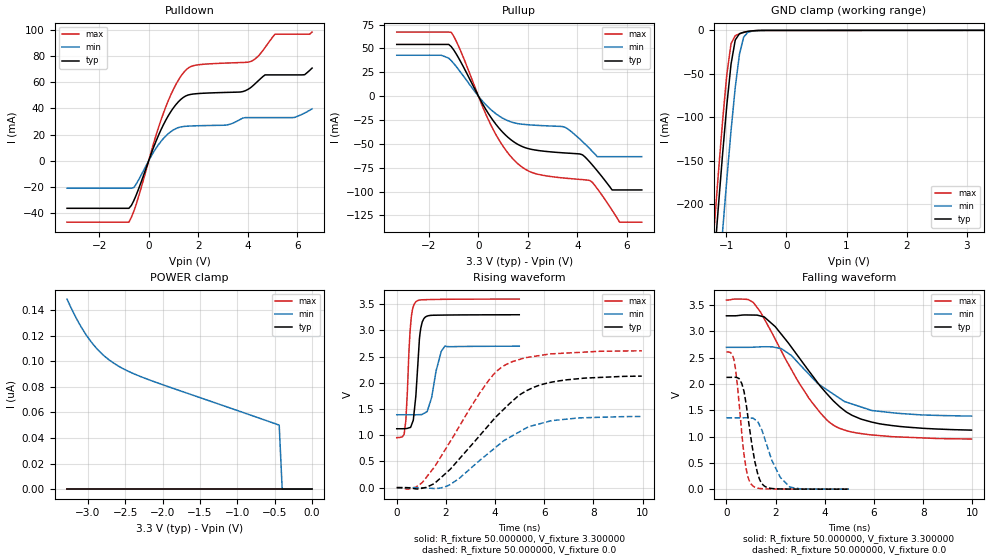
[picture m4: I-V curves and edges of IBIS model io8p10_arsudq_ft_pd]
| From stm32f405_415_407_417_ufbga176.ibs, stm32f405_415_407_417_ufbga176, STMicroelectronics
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|   Model io8p10_arsudq_ft_pd
[Model]  io8p10_arsudq_ft_pd
Model_type I/O
Polarity   Non-Inverting
Enable   Active-Low
Vinl =   0.990000V
Vinh =   2.310000V
Vmeas =  1.650000V
Cref =   40.000000pF
Rref =   100.000000M
Vref =   0.0V
C_comp   2.292100pF   2.228000pF   2.366600pF
[Temperature Range]   25.000000   0.125000k   -40.000000
[Pullup Reference]   3.300000V   2.700000V   3.600000V
[Pulldown Reference]   0.0V   0.0V   0.0V
[POWER Clamp Reference]   3.300000V   2.700000V   3.600000V
[GND Clamp Reference]   0.0V   0.0V   0.0V
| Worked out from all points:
|   slope of the pulldown table from 0 to 0.495 V, typ, clamps not added: 20.9 ohm
|   slope of the pullup table from 0 to 0.495 V, typ, clamps not added: 22.6 ohm
|   GND clamp passes 1 mA (typ) near -0.62 V on its own axis
|   rising waveform, R_fixture 50.000000, V_fixture 3.300000: 20-80 % time 194ps typ, 344ps min, 164ps max; typ from 1.12 V to 3.3 V
|   rising waveform, R_fixture 50.000000, V_fixture 0.0: 20-80 % time 2.51ns typ, 2.3ns min, 2.11ns max; typ from 0 V to 2.13 V
|   falling waveform, R_fixture 50.000000, V_fixture 3.300000: 20-80 % time 2.25ns typ, 2.05ns min, 2.03ns max; typ from 3.3 V to 1.12 V
|   falling waveform, R_fixture 50.000000, V_fixture 0.0: 20-80 % time 433ps typ, 668ps min, 339ps max; typ from 2.13 V to 0 V
[Pulldown]
|Voltage   I(typ)   I(min)   I(max)
-3.3V     -36.46mA   -21.1mA    -47.09mA
-800mV    -36.46mA   -21.1mA    -47.09mA
-600mV    -30.5mA    -20.54mA   -38.69mA
700mV     31.4mA     19.11mA    41.71mA
1.2V      45.15mA    25.37mA    61.75mA
1.6V      50.35mA    26.5mA     71.06mA
3.1V      52.27mA    27.26mA    74.75mA
4.1V      55.7mA     32.99mA    75.8mA
4.7V      65.72mA    32.99mA    86.69mA
5.1V      65.72mA    32.99mA    96.9mA
6.3V      65.87mA    36.5mA     96.9mA
6.6V      70.93mA    39.71mA    98.5mA
[Pullup]
|Voltage   I(typ)   I(min)   I(max)
-3.3V     54.22mA    42.91mA    67.18mA
-1.1V     51.99mA    37.29mA    66.9mA
500mV     -22.07mA   -14mA      -30.03mA
1.5V      -49.1mA    -28.3mA    -68.56mA
2.2V      -56.04mA   -30.32mA   -80.35mA
3.5V      -59.53mA   -32.65mA   -85.92mA
4.2V      -61.43mA   -47.49mA   -87.46mA
4.5V      -69.06mA   -55.13mA   -88.38mA
4.8V      -78.22mA   -63.4mA    -96.84mA
5.4V      -98.3mA    -63.4mA    -119.6mA
5.7V      -98.3mA    -63.4mA    -132.1mA
6.6V      -98.3mA    -63.4mA    -132.1mA
[GND_clamp]
|Voltage   I(typ)   I(min)   I(max)
-3.3V     -2.316A    -2.396A    -2.289A
-1.2V     -265.5mA   -356.1mA   -227.2mA
-1.13V    -202.7mA   -292.9mA   -164.1mA
-1.06V    -142.2mA   -231.2mA   -104.1mA
-990mV    -85.98mA   -171.6mA   -50.73mA
-920mV    -38.81mA   -115.5mA   -15.29mA
-850mV    -11.09mA   -65.61mA   -6.016mA
-780mV    -3.793mA   -27.42mA   -3.89mA
-710mV    -2.098mA   -7.698mA   -2.396mA
-640mV    -1.159mA   -2.127mA   -1.234mA
-570mV    -535.1uA   -807.4uA   -490.2uA
3.28V     81.28uA    57.87uA    93.98uA
[POWER_clamp]
|Voltage   I(typ)   I(min)   I(max)
-3.28V    0A         148.5nA    0A
-3.2V     0A         138.6nA    0A
-3.12V    0A         129.7nA    0A
-3.04V    0A         122nA      0A
-2.96V    0A         115.3nA    0A
-2.8V     0A         105.1nA    0A
-2.6V     0A         96.44nA    0A
-2.4V     0A         90.52nA    0A
-2.16V    0A         84.97nA    0A
-440mV    0A         50.04nA    0A
-400mV    0A         0A         0A
0V        0A         0A         0A
[Ramp]
| variable   typ   min   max
dV/dt_r  1.26672/2.50881n   0.81108/2.29846n   1.56456/2.11400n
dV/dt_f  1.28292/2.24001n   0.77724/2.03584n   1.57467/2.02797n
R_load = 50.000000
[Rising Waveform]
R_fixture= 50.000000
V_fixture= 3.300000
V_fixture_min= 2.700000
V_fixture_max= 3.600000
|time   V(typ)   V(min)   V(max)
0s        1.123V     1.391V     953.9mV
300.3ps   1.125V     1.391V     1.016V
370.4ps   1.127V     1.391V     1.28V
550.6ps   1.148V     1.391V     3.028V
670.7ps   1.282V     1.39V      3.45V
760.8ps   1.673V     1.39V      3.536V
940.9ps   2.92V      1.393V     3.579V
1.171ns   3.258V     1.433V     3.586V
1.962ns   3.293V     2.701V     3.593V
4.985ns   3.299V     2.699V     3.598V
[Rising Waveform]
R_fixture= 50.000000
V_fixture= 0.0
V_fixture_min= 0.0
V_fixture_max= 0.0
|time   V(typ)   V(min)   V(max)
0s        344.7uV    197.4uV    679.1uV
460.5ps   -2.486mV   133.5uV    -29.07mV
1.041ns   -10.16mV   -1.939mV   97.44mV
1.542ns   82.09mV    -17.48mV   399.5mV
2.162ns   344.6mV    55.61mV    869.5mV
3.744ns   1.193V     660.3mV    2.047V
4.444ns   1.537V     919.7mV    2.347V
5.285ns   1.85V      1.143V     2.482V
6.186ns   2.002V     1.264V     2.547V
9.97ns    2.127V     1.357V     2.611V
[Falling Waveform]
R_fixture= 50.000000
V_fixture= 3.300000
V_fixture_min= 2.700000
V_fixture_max= 3.600000
|time   V(typ)   V(min)   V(max)
0s        3.299V     2.699V     3.598V
880.9ps   3.314V     2.699V     3.608V
1.101ns   3.312V     2.701V     3.547V
1.542ns   3.275V     2.709V     3.238V
2.242ns   2.942V     2.672V     2.62V
3.383ns   2.231V     2.173V     1.711V
4.384ns   1.665V     1.798V     1.208V
5.125ns   1.402V     1.618V     1.085V
6.206ns   1.246V     1.482V     1.02V
9.97ns    1.123V     1.391V     953.9mV
[Falling Waveform]
R_fixture= 50.000000
V_fixture= 0.0
V_fixture_min= 0.0
V_fixture_max= 0.0
|time   V(typ)   V(min)   V(max)
0s        2.127V     1.357V     2.611V
300.3ps   2.129V     1.357V     2.473V
450.5ps   2.118V     1.357V     1.954V
620.6ps   2.014V     1.357V     1.08V
840.8ps   1.488V     1.359V     294.2mV
1.041ns   828.7mV    1.351V     77.84mV
1.451ns   100.8mV    1.113V     9.809mV
1.852ns   12.96mV    542.8mV    3.743mV
2.583ns   2.093mV    38.53mV    1.697mV
4.985ns   344.7uV    197.4uV    679.1uV
